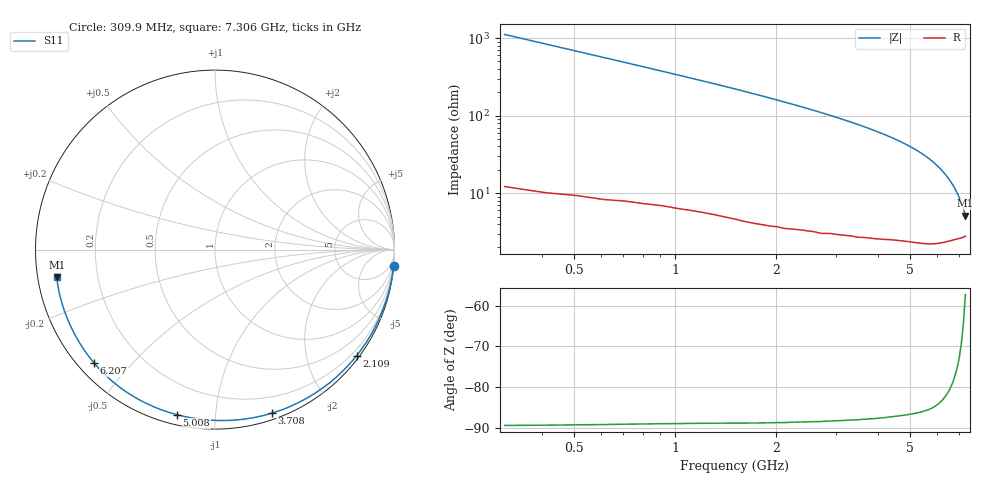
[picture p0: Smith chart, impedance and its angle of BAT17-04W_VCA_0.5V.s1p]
! Infineon Technologies  Discrete & RF Semiconductors
! BAT17-04W
! VCA = 0.5 V
! One-Port S-Parameters
# Hz  S  MA  R  50
!f  S11
!Hz  Mag  Ang
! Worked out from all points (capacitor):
!   71 points, 309.9 MHz to 7.306 GHz, reference 50 ohm
!   read as one part to ground: C = 462 fF near 309.9 MHz
!   lowest |Z| = 5.14 ohm at 7.306 GHz (marker M1)
!   S11 on the Smith chart (normalised r, x): 309.9 MHz: 0, -22; 2.109 GHz: 0.07, -3.00; 3.708 GHz: 0.05, -1.40; 5.008 GHz: 0.05, -0.80; 6.207 GHz: 0.05, -0.39; 7.306 GHz: 0.06, -0.09
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3.0985e8  0.999 -5.1
6.097e8  0.9974 -10.1
8.096e8  0.996 -13.5
1.2094e9  0.993 -20.3
1.50925e9  0.991 -25.6
1.70915e9  0.9896 -29.2
2.10895e9  0.9861 -36.9
2.50875e9  0.9813 -44.8
2.70865e9  0.9794 -48.9
3.0085e9  0.9749 -55.3
3.4083e9  0.9693 -64.1
3.70815e9  0.9647 -71.0
3.8081e9  0.9632 -73.3
4.008e9  0.9601 -78.0
4.2079e9  0.9566 -82.8
4.50775e9  0.9514 -90.1
4.70765e9  0.9483 -95.2
5.0075e9  0.944 -102.9
5.30735e9  0.94 -111.0
5.6072e9  0.9358 -119.3
5.70715e9  0.9343 -122.2
5.90705e9  0.9305 -128.0
6.2069e9  0.9236 -137.0
6.50675e9  0.9159 -145.9
6.70665e9  0.9107 -151.9
6.90655e9  0.9058 -158.0
7.10645e9  0.9012 -164.0
7.30635e9  0.8955 -170.1
